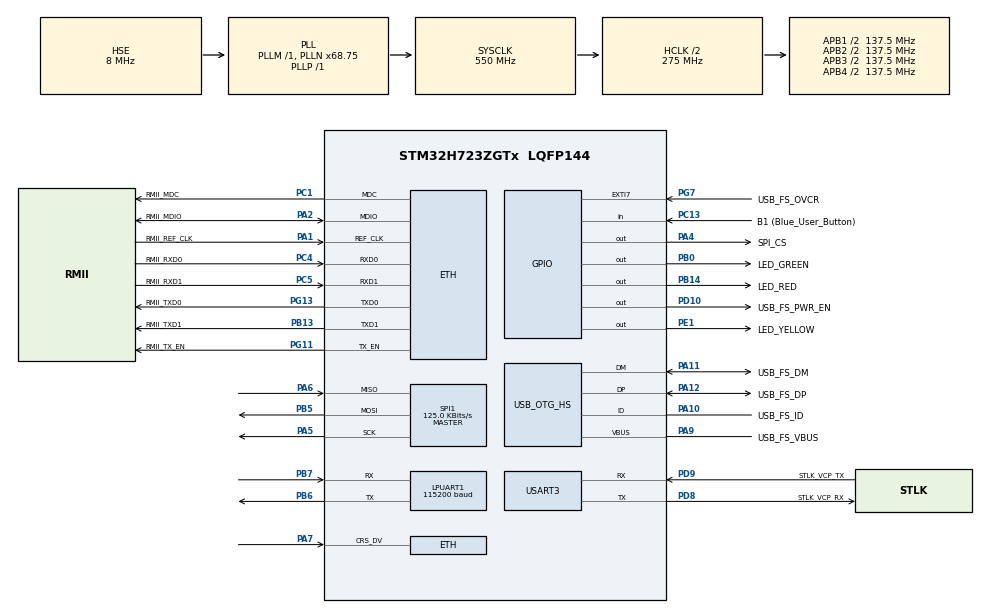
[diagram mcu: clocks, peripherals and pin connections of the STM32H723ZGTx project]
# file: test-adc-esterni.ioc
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ETH.MediaInterface=HAL_ETH_RMII_MODE
LPUART1.BaudRate=115200
Mcu.Family=STM32H7
Mcu.Name=STM32H723ZGTx
Mcu.Package=LQFP144
NVIC.PriorityGroup=NVIC_PRIORITYGROUP_4
PA1.GPIO_Label=RMII_REF_CLK
PA1.Mode=RMII
PA1.Signal=ETH_REF_CLK
PA10.GPIO_Label=USB_FS_ID
PA10.Mode=OTG/Dual-Role-Device-FS
PA10.Signal=USB_OTG_HS_ID
PA11.GPIO_Label=USB_FS_DM
PA11.Mode=OTG/Dual-Role-Device-FS
PA11.Signal=USB_OTG_HS_DM
PA12.GPIO_Label=USB_FS_DP
PA12.Mode=OTG/Dual-Role-Device-FS
PA12.Signal=USB_OTG_HS_DP
PA13(JTMS/SWDIO).GPIO_Label=SWDIO
PA13(JTMS/SWDIO).Mode=Trace_Asynchronous_SW
PA13(JTMS/SWDIO).Signal=DEBUG_JTMS-SWDIO
PA14(JTCK/SWCLK).GPIO_Label=SWCLK
PA14(JTCK/SWCLK).Mode=Trace_Asynchronous_SW
PA14(JTCK/SWCLK).Signal=DEBUG_JTCK-SWCLK
PA2.GPIO_Label=RMII_MDIO
PA2.Mode=RMII
PA2.Signal=ETH_MDIO
PA4.GPIO_Label=SPI_CS
PA4.Signal=GPIO_Output
PA5.GPIO_PuPd=GPIO_NOPULL
PA5.Mode=Full_Duplex_Master
PA5.Signal=SPI1_SCK
PA6.Mode=Full_Duplex_Master
PA6.Signal=SPI1_MISO
PA7.Mode=RMII
PA7.Signal=ETH_CRS_DV
PA9.GPIO_Label=USB_FS_VBUS
PA9.Mode=Activate_VBUS_FS
PA9.Signal=USB_OTG_HS_VBUS
PB0.GPIO_Label=LED_GREEN
PB0.Signal=GPIO_Output
PB13.GPIO_Label=RMII_TXD1
PB13.Mode=RMII
PB13.Signal=ETH_TXD1
PB14.GPIO_Label=LED_RED
PB14.Signal=GPIO_Output
PB3(JTDO/TRACESWO).GPIO_Label=SWO
PB3(JTDO/TRACESWO).Mode=Trace_Asynchronous_SW
PB3(JTDO/TRACESWO).Signal=DEBUG_JTDO-SWO
PB5.Mode=Full_Duplex_Master
PB5.Signal=SPI1_MOSI
PB6.Mode=Asynchronous
PB6.Signal=LPUART1_TX
PB7.Mode=Asynchronous
PB7.Signal=LPUART1_RX
PC1.GPIO_Label=RMII_MDC
PC1.Mode=RMII
PC1.Signal=ETH_MDC
PC13.GPIO_Label=B1 (Blue_User_Button)
PC13.Signal=GPIO_Input
PC14-OSC32_IN.Mode=LSE-External-Oscillator
PC14-OSC32_IN.Signal=RCC_OSC32_IN
PC15-OSC32_OUT.Mode=LSE-External-Oscillator
PC15-OSC32_OUT.Signal=RCC_OSC32_OUT
PC4.GPIO_Label=RMII_RXD0
PC4.Mode=RMII
PC4.Signal=ETH_RXD0
PC5.GPIO_Label=RMII_RXD1
PC5.Mode=RMII
PC5.Signal=ETH_RXD1
PD10.GPIO_Label=USB_FS_PWR_EN
PD10.Signal=GPIO_Output
PD8.GPIO_Label=STLK_VCP_RX
PD8.Mode=Asynchronous
PD8.Signal=USART3_TX
PD9.GPIO_Label=STLK_VCP_TX
PD9.Mode=Asynchronous
PD9.Signal=USART3_RX
PE1.GPIO_Label=LED_YELLOW
PE1.Signal=GPIO_Output
PG11.GPIO_Label=RMII_TX_EN
PG11.Mode=RMII
PG11.Signal=ETH_TX_EN
PG13.GPIO_Label=RMII_TXD0
PG13.Mode=RMII
PG13.Signal=ETH_TXD0
PG7.GPIO_Label=USB_FS_OVCR
PG7.Signal=GPXTI7
PH0-OSC_IN.GPIO_Label=MCO
PH0-OSC_IN.Mode=HSE-External-Clock-Source
PH0-OSC_IN.Signal=RCC_OSC_IN
PH1-OSC_OUT.Signal=RCC_OSC_OUT
ProjectManager.HeapSize=0x200
ProjectManager.StackSize=0x400
ProjectManager.TargetToolchain=STM32CubeIDE
RCC.ADCFreq_Value=76000000
RCC.APB1Freq_Value=137500000
RCC.APB2Freq_Value=137500000
RCC.APB3Freq_Value=137500000
RCC.APB4Freq_Value=137500000
RCC.CortexFreq_Value=550000000
RCC.D1PPRE=RCC_APB3_DIV2
RCC.D2PPRE1=RCC_APB1_DIV2
RCC.D2PPRE2=RCC_APB2_DIV2
RCC.D3PPRE=RCC_APB4_DIV2
RCC.DIVM1=1
RCC.DIVM2=1
RCC.DIVM3=1
RCC.DIVN1=68
RCC.DIVN2=19
RCC.DIVN3=24
RCC.DIVP1=1
RCC.DIVP3=24
RCC.DIVQ1=3
RCC.HCLKFreq_Value=275000000
RCC.HPRE=RCC_HCLK_DIV2
RCC.HSE_VALUE=8000000
RCC.PLL1_VCO_SEL-AdvancedSettings=RCC_PLL1VCOMEDIUM
RCC.PLL2FRACN=0
RCC.PLL2_VCO_SEL-AdvancedSettings=RCC_PLL2VCOMEDIUM
RCC.PLL3FRACN=0
RCC.PLLFRACN=6144
RCC.PLLSourceVirtual=RCC_PLLSOURCE_HSE
RCC.SPI123CLockSelection=RCC_SPI123CLKSOURCE_PLL3
RCC.SYSCLKFreq_VALUE=550000000
RCC.SYSCLKSource=RCC_SYSCLKSOURCE_PLLCLK
RCC.USBCLockSelection=RCC_USBCLKSOURCE_HSI48
RCC.USBFreq_Value=48000000
SPI1.BaudRatePrescaler=SPI_BAUDRATEPRESCALER_64
SPI1.CLKPhase=SPI_PHASE_1EDGE
SPI1.CLKPolarity=SPI_POLARITY_LOW
SPI1.CalculateBaudRate=125.0 KBits/s
SPI1.DataSize=SPI_DATASIZE_8BIT
SPI1.Direction=SPI_DIRECTION_2LINES
SPI1.FirstBit=SPI_FIRSTBIT_MSB
SPI1.IOSwap=SPI_IO_SWAP_DISABLE
SPI1.Mode=SPI_MODE_MASTER
SPI1.NSSPMode=SPI_NSS_PULSE_ENABLE
SPI1.VirtualType=VM_MASTER
USART3.VirtualMode-Asynchronous=VM_ASYNC
board=NUCLEO-H723ZG

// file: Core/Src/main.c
/* USER CODE BEGIN Header */
/**
  ******************************************************************************
  * @file           : main.c
  * @brief          : Main program body
  ******************************************************************************
  * @attention
  *
  * Copyright (c) 2023 STMicroelectronics.
  * All rights reserved.
  *
  * This software is licensed under terms that can be found in the LICENSE file
  * in the root directory of this software component.
  * If no LICENSE file comes with this software, it is provided AS-IS.
  *
  ******************************************************************************
  */
/* USER CODE END Header */
#include "main.h"
#include "eth.h"
#include "usart.h"
#include "spi.h"
#include "usb_otg.h"
#include "gpio.h"

/* USER CODE BEGIN Includes */
#include <stdio.h>

/* USER CODE END Includes */

/* USER CODE BEGIN PTD */

typedef enum {
  LTC1865L_DIFF,
  LTC1865L_DIFF_INVERTED,
  LTC1865L_SE_CH1,
  LTC1865L_SE_CH2
} LTC1865L_channel_t;

/* USER CODE END PTD */

void SystemClock_Config(void);

/* USER CODE BEGIN 0 */

HAL_StatusTypeDef LTC1865L_select_channel(LTC1865L_channel_t c) {
  uint8_t channel_selection_bits[2] = {0x00};
  switch(c) {
  case LTC1865L_SE_CH1:
	  channel_selection_bits[0] = 0xFF;
	  channel_selection_bits[1] = 0xFF;
	  break;
  case LTC1865L_SE_CH2:
	  channel_selection_bits[0] = 0xAA;
	  channel_selection_bits[1] = 0xAA;
	  break;
  case LTC1865L_DIFF:
	  channel_selection_bits[0] = 0x00;
	  channel_selection_bits[1] = 0x00;
	  break;
  case LTC1865L_DIFF_INVERTED:
	  channel_selection_bits[0] = 0x55;
	  channel_selection_bits[1] = 0x55;
	  break;
  default:
	  break;
  }
  HAL_GPIO_WritePin(GPIOA, SPI_CS_Pin, GPIO_PIN_SET);
  HAL_Delay(2);
  HAL_GPIO_WritePin(GPIOA, SPI_CS_Pin, GPIO_PIN_RESET);
  return HAL_SPI_Transmit(&hspi1, channel_selection_bits, 2, 100);
}

uint16_t LTC1865L_read() {
  uint16_t cell_value = 0;
  HAL_GPIO_WritePin(GPIOA, SPI_CS_Pin, GPIO_PIN_SET);
  HAL_Delay(2);
  HAL_GPIO_WritePin(GPIOA, SPI_CS_Pin, GPIO_PIN_RESET);
  if (HAL_SPI_Receive(&hspi1, (uint8_t*) &cell_value, 2, 100) != HAL_OK) {
  	  Error_Handler();
  }
  return cell_value;
}

/* USER CODE END 0 */

int main(void)
{

  /* MCU Configuration--------------------------------------------------------*/

  /* Reset of all peripherals, Initializes the Flash interface and the Systick. */
  HAL_Init();

  /* Configure the system clock */
  SystemClock_Config();

  /* Initialize all configured peripherals */
  MX_GPIO_Init();
  MX_ETH_Init();
  MX_USART3_UART_Init();
  MX_USB_OTG_HS_USB_Init();
  MX_LPUART1_UART_Init();
  MX_SPI1_Init();
  /* USER CODE BEGIN 2 */

#define LEN 2048
  char buffer[LEN];
  uint16_t ltc_raw_values[4] = {0};
  long unsigned int converted[4] = {0};

  /* USER CODE END 2 */

  /* Infinite loop */
  /* USER CODE BEGIN WHILE */
  while (1)
  {
	  // READ CHANNEL 1
	  if (LTC1865L_select_channel(LTC1865L_SE_CH1) != HAL_OK) {
		  Error_Handler();
	  }
	  HAL_Delay(2);
	  uint16_t cval = LTC1865L_read();
#define SWAP_BYTES_ENABLED 1
#if SWAP_BYTES_ENABLED == 0
	  ltc_raw_values[0] = cval;
#else
	  ltc_raw_values[0] = (cval << 8) | (cval >> 8);
#endif
	  converted[0] = ltc_raw_values[0] * 2900 / 65536;

	  // READ CHANNEL 2
	  if (LTC1865L_select_channel(LTC1865L_SE_CH2) != HAL_OK) {
		  Error_Handler();
	  }
	  HAL_Delay(2);
	  cval = LTC1865L_read();
#if SWAP_BYTES_ENABLED == 0
	  ltc_raw_values[1] = cval;
#else
	  ltc_raw_values[1] = (cval << 8) | (cval >> 8);
#endif
	  converted[1] = ltc_raw_values[1] * 2900 / 65536;

	  // READ DIFF MODE
	  if (LTC1865L_select_channel(LTC1865L_DIFF) != HAL_OK) {
		  Error_Handler();
	  }
	  HAL_Delay(2);
	  cval = LTC1865L_read();
#if SWAP_BYTES_ENABLED == 0
	  ltc_raw_values[2] = cval;
#else
	  ltc_raw_values[2] = (cval << 8) | (cval >> 8);
#endif
	  converted[2] = ltc_raw_values[2] * 2900 / 65536;

	  // READ DIFF MODE INVERTED
	  if (LTC1865L_select_channel(LTC1865L_DIFF_INVERTED) != HAL_OK) {
		  Error_Handler();
	  }
	  HAL_Delay(2);
	  cval = LTC1865L_read();
#if SWAP_BYTES_ENABLED == 0
	  ltc_raw_values[3] = cval;
#else
	  ltc_raw_values[3] = (cval << 8) | (cval >> 8);
#endif
	  converted[3] = ltc_raw_values[3] * 2900 / 65536;

	  snprintf(buffer, LEN, "ch0: %#x; %lu mV | ch1: %#x; ch1: %lu mV | diff: %#x; ch1: %lu mV | diff inverted: %#x; ch1: %lu mV \n",
			  ltc_raw_values[0], converted[0], ltc_raw_values[1],
			  converted[1], ltc_raw_values[2], converted[2], ltc_raw_values[3], converted[3]);
	  HAL_UART_Transmit(&huart3, (const uint8_t *)buffer, strlen(buffer), 500);
	  HAL_Delay(250);
    /* USER CODE END WHILE */

  }
}

void SystemClock_Config(void)
{
  RCC_OscInitTypeDef RCC_OscInitStruct = {0};
  RCC_ClkInitTypeDef RCC_ClkInitStruct = {0};

  /** Supply configuration update enable
  */
  HAL_PWREx_ConfigSupply(PWR_LDO_SUPPLY);

  /** Configure the main internal regulator output voltage
  */
  __HAL_PWR_VOLTAGESCALING_CONFIG(PWR_REGULATOR_VOLTAGE_SCALE0);

  while(!__HAL_PWR_GET_FLAG(PWR_FLAG_VOSRDY)) {}

  /** Macro to configure the PLL clock source
  */
  __HAL_RCC_PLL_PLLSOURCE_CONFIG(RCC_PLLSOURCE_HSE);

  /** Initializes the RCC Oscillators according to the specified parameters
  * in the RCC_OscInitTypeDef structure.
  */
  RCC_OscInitStruct.OscillatorType = RCC_OSCILLATORTYPE_HSI48|RCC_OSCILLATORTYPE_HSE;
  RCC_OscInitStruct.HSEState = RCC_HSE_BYPASS;
  RCC_OscInitStruct.HSI48State = RCC_HSI48_ON;
  RCC_OscInitStruct.PLL.PLLState = RCC_PLL_ON;
  RCC_OscInitStruct.PLL.PLLSource = RCC_PLLSOURCE_HSE;
  RCC_OscInitStruct.PLL.PLLM = 1;
  RCC_OscInitStruct.PLL.PLLN = 68;
  RCC_OscInitStruct.PLL.PLLP = 1;
  RCC_OscInitStruct.PLL.PLLQ = 3;
  RCC_OscInitStruct.PLL.PLLR = 2;
  RCC_OscInitStruct.PLL.PLLRGE = RCC_PLL1VCIRANGE_3;
  RCC_OscInitStruct.PLL.PLLVCOSEL = RCC_PLL1VCOWIDE;
  RCC_OscInitStruct.PLL.PLLFRACN = 6144;
  if (HAL_RCC_OscConfig(&RCC_OscInitStruct) != HAL_OK)
  {
    Error_Handler();
  }

  /** Initializes the CPU, AHB and APB buses clocks
  */
  RCC_ClkInitStruct.ClockType = RCC_CLOCKTYPE_HCLK|RCC_CLOCKTYPE_SYSCLK
                              |RCC_CLOCKTYPE_PCLK1|RCC_CLOCKTYPE_PCLK2
                              |RCC_CLOCKTYPE_D3PCLK1|RCC_CLOCKTYPE_D1PCLK1;
  RCC_ClkInitStruct.SYSCLKSource = RCC_SYSCLKSOURCE_PLLCLK;
  RCC_ClkInitStruct.SYSCLKDivider = RCC_SYSCLK_DIV1;
  RCC_ClkInitStruct.AHBCLKDivider = RCC_HCLK_DIV2;
  RCC_ClkInitStruct.APB3CLKDivider = RCC_APB3_DIV2;
  RCC_ClkInitStruct.APB1CLKDivider = RCC_APB1_DIV2;
  RCC_ClkInitStruct.APB2CLKDivider = RCC_APB2_DIV2;
  RCC_ClkInitStruct.APB4CLKDivider = RCC_APB4_DIV2;

  if (HAL_RCC_ClockConfig(&RCC_ClkInitStruct, FLASH_LATENCY_3) != HAL_OK)
  {
    Error_Handler();
  }
}

void Error_Handler(void)
{
  __disable_irq();
  while (1)
  {
  }
}
